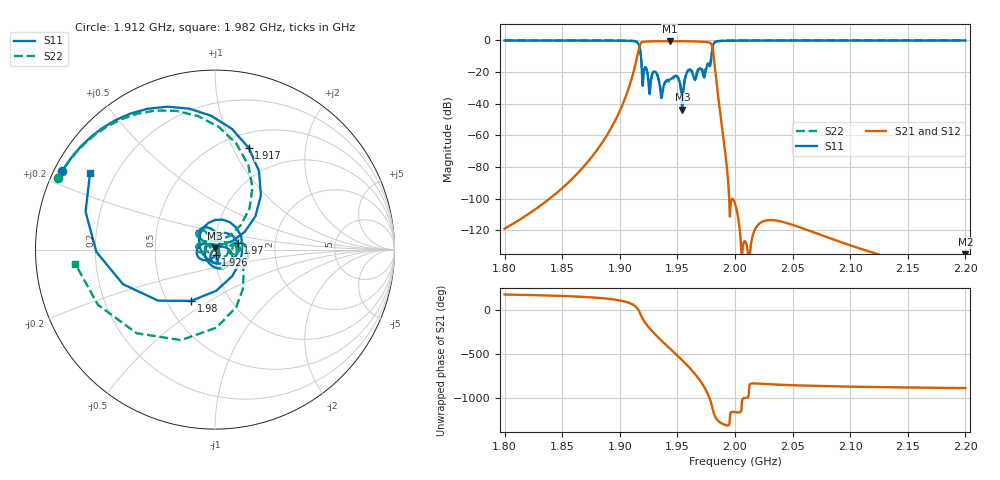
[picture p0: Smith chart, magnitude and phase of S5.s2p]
! Touchstone file exported from HFSS 2023.1.0
!  File:  E:/3.%x6211%x7684%x8BBA%x6587/%x65B0%x6D4B%x8BD5/CoaxialF93.aedt
!  Generated:  9:33:43 %x4E0B%x5348  5%x6708 26, 2023
!  Design:  S5
!  Project:  CoaxialF93
!  Setup:  Setup1
!  Solution:  Sweep
! Variables:
!  Hin1 = 26mm
!  Hout = 29mm
!  L12 = 14.8mm
!  L13 = 14.75mm
!  L23 = 6.95mm
!  L34 = 12.5mm
!  L45 = 8.3mm
!  L46 = 3.7mm
!  L56 = 8.2mm
!  L67 = 12.5mm
!  L78 = 8.3mm
!  L79 = 11.5mm
!  L89 = 15.3mm
!  Rin = 5mm
!  Rin2 = 4mm
!  Rout = 15mm
!  Rport = 1.15mm
!  Rport2 = 3mm
!  Rportin = 0.5mm
!  d = 3mm
!  d01 = 2.9mm
!  d02 = 3.53mm
!  d03 = 3.66mm
!  d04 = 3.74mm
!  d05 = 3.745mm
!  d06 = 3.74mm
!  d07 = 3.672mm
!  d08 = 3.52mm
!  d09 = 2.92mm
!  d12 = 18mm
!  d12x = 15.5mm
!  d12y = 25mm
!  d23 = 18mm
!  d34 = 30mm
!  hport = 10.4mm
!  hport2 = 10.4mm
!  lport = 12mm
!  lport2 = 1mm
!  lport_2 = 12mm
!  m = 2mm
!  w12 = 12mm
!  w13 = 10mm
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# GHz S MA R 50.000000
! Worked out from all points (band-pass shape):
!   1001 points, 1.8 GHz to 2.2 GHz, reference 50 ohm
!   highest |S21| = -0.46 dB at 1.943 GHz (marker M1); lowest = -149.5 dB at 2.2 GHz (marker M2)
!   |S21| within 3 dB of the highest: 1.917 GHz to 1.98 GHz (62.73 MHz wide, 3.22 % of centre)
!   lowest |S11| = -43.7 dB at 1.954 GHz (marker M3), VSWR 1.01, Z = 50.2 + j0.631 ohm
!   |S11| at or under -10 dB: 1.918 GHz to 1.98 GHz (61.31 MHz wide, 3.15 % of centre)
!   |S22| runs from -34.9 to 0.0 dB; largest |S21 - S12| = 1.4e-12
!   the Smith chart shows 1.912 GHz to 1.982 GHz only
!   S11 on the Smith chart (normalised r, x): 1.912 GHz: 0.02, +0.24; 1.917 GHz: 0.66, +1.16; 1.926 GHz: 1.01, -0.06; 1.97 GHz: 1.29, +0.09; 1.98 GHz: 0.66, -0.42; 1.982 GHz: 0.11, +0.28
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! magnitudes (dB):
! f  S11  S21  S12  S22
! 1.8 GHz  0.0  -118.9  -118.9  0.0
! 1.867 GHz  0.0  -81.2  -81.2  0.0
! 1.894 GHz  -0.1  -53.9  -53.9  -0.1
! 1.912 GHz  -0.4  -19.7  -19.7  -0.4
! 1.917 GHz  -4.5  -3.7  -3.7  -4.4
! 1.92 GHz  -22.4  -0.8  -0.8  -21.7
! 1.926 GHz  -30.3  -0.6  -0.6  -27.1
! 1.93 GHz  -19.7  -0.6  -0.6  -19.5
! 1.934 GHz  -24.5  -0.5  -0.5  -24.1
! 1.937 GHz  -34.3  -0.5  -0.5  -31.6
! 1.943 GHz  -24.8  -0.5  -0.5  -25.9
! 1.95 GHz  -22.6  -0.5  -0.5  -22.7
! 1.954 GHz  -43.7  -0.5  -0.5  -34.9
! 1.959 GHz  -19.2  -0.5  -0.5  -19.0
! 1.97 GHz  -17.6  -0.7  -0.7  -17.0
! 1.98 GHz  -10.0  -2.5  -2.5  -9.3
! 1.982 GHz  -1.8  -10.9  -10.9  -2.1
! 1.992 GHz  -0.2  -76.5  -76.5  -0.2
! 2 GHz  -0.1  -103.2  -103.2  -0.1
! 2.067 GHz  0.0  -120.9  -120.9  0.0
! 2.134 GHz  0.0  -137.2  -137.2  0.0
! 2.2 GHz  0.0  -149.5  -149.5  0.0
